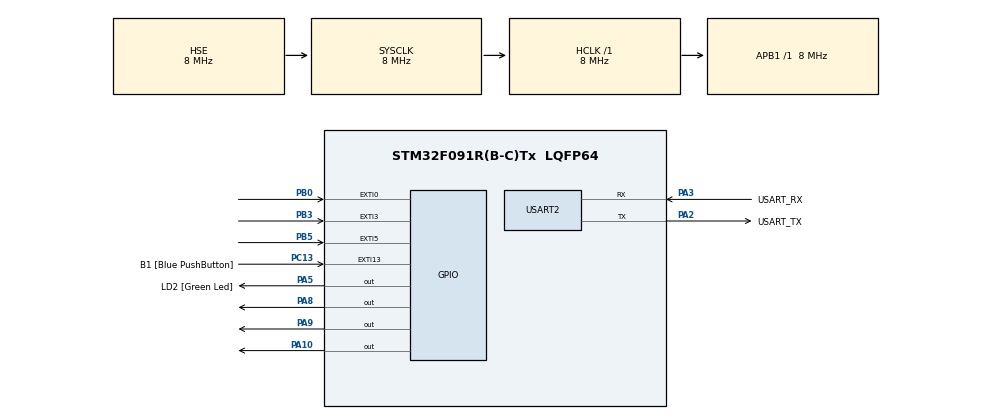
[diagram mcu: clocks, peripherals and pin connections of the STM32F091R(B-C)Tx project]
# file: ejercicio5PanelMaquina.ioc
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Mcu.Family=STM32F0
Mcu.Name=STM32F091R(B-C)Tx
Mcu.Package=LQFP64
NVIC.EXTI0_1_IRQn=true\:0\:0\:false\:false\:true\:true\:true\:true
NVIC.EXTI2_3_IRQn=true\:0\:0\:false\:false\:true\:true\:true\:true
NVIC.EXTI4_15_IRQn=true\:0\:0\:false\:false\:true\:true\:true\:true
PA10.Signal=GPIO_Output
PA13.GPIO_Label=TMS
PA13.Mode=Serial_Wire
PA13.Signal=SYS_SWDIO
PA14.GPIO_Label=TCK
PA14.Mode=Serial_Wire
PA14.Signal=SYS_SWCLK
PA2.GPIO_Label=USART_TX
PA2.GPIO_Mode=GPIO_MODE_AF_PP
PA2.GPIO_PuPd=GPIO_NOPULL
PA2.GPIO_Speed=GPIO_SPEED_FREQ_LOW
PA2.Mode=Asynchronous
PA2.Signal=USART2_TX
PA3.GPIO_Label=USART_RX
PA3.GPIO_Mode=GPIO_MODE_AF_PP
PA3.GPIO_PuPd=GPIO_NOPULL
PA3.GPIO_Speed=GPIO_SPEED_FREQ_LOW
PA3.Mode=Asynchronous
PA3.Signal=USART2_RX
PA5.GPIO_Label=LD2 [Green Led]
PA5.GPIO_Mode=GPIO_MODE_OUTPUT_PP
PA5.GPIO_PuPd=GPIO_NOPULL
PA5.GPIO_Speed=GPIO_SPEED_FREQ_LOW
PA5.Signal=GPIO_Output
PA8.Signal=GPIO_Output
PA9.Signal=GPIO_Output
PB0.Signal=GPXTI0
PB3.Signal=GPXTI3
PB5.Signal=GPXTI5
PC13.GPIO_Label=B1 [Blue PushButton]
PC13.GPIO_ModeDefaultEXTI=GPIO_MODE_IT_FALLING
PC13.Signal=GPXTI13
PC14OSC32_IN.Mode=LSE-External-Oscillator
PC14OSC32_IN.Signal=RCC_OSC32_IN
PC15OSC32_OUT.Mode=LSE-External-Oscillator
PC15OSC32_OUT.Signal=RCC_OSC32_OUT
PF0-OSC_IN.Mode=HSE-External-Clock-Source
PF0-OSC_IN.Signal=RCC_OSC_IN
PF1-OSC_OUT.Signal=RCC_OSC_OUT
ProjectManager.HeapSize=0x200
ProjectManager.StackSize=0x400
ProjectManager.TargetToolchain=CMake
RCC.AHBFreq_Value=8000000
RCC.APB1Freq_Value=8000000
RCC.APB1TimFreq_Value=8000000
RCC.FLatency-AdvancedSettings=FLASH_LATENCY_0
RCC.HCLKFreq_Value=8000000
RCC.PLLDivider=RCC_PREDIV_DIV2
RCC.PLLMUL=RCC_PLL_MUL12
RCC.PREFETCH_ENABLE-AdvancedSettings=1
RCC.SYSCLKFreq_VALUE=8000000
RCC.SYSCLKSource=RCC_SYSCLKSOURCE_HSE
USART2.VirtualMode=VM_ASYNC
USART2.VirtualMode-Asynchronous=VM_ASYNC
board=NUCLEO-F091RC

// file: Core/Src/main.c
/* USER CODE BEGIN Header */
/**
  ******************************************************************************
  * @file           : main.c
  * @brief          : Main program body
  ******************************************************************************
  * @attention
  *
  * Copyright (c) 2026 STMicroelectronics.
  * All rights reserved.
  *
  * This software is licensed under terms that can be found in the LICENSE file
  * in the root directory of this software component.
  * If no LICENSE file comes with this software, it is provided AS-IS.
  *
  ******************************************************************************
  */
/* USER CODE END Header */
#include "main.h"
#include <stdint.h>

UART_HandleTypeDef huart2;

/* USER CODE BEGIN PV */
volatile uint8_t num = 0;
volatile uint8_t contPuls = 0;
/* USER CODE END PV */

void SystemClock_Config(void);
static void MX_GPIO_Init(void);
static void MX_USART2_UART_Init(void);
/* USER CODE BEGIN PFP */
void condiciones(uint8_t num){
  //LED verde PA10 LED amarillo PA8 LED rojo PA9
  switch (num) {
    case 1:
      GPIOA->BSRR = (1UL << 24) | (1UL << 25) | (1UL << 10);//Se enciende el led verde
      break;
    case 2:
      GPIOA->BSRR = (1UL << 8) | (1UL << 25) | (1UL << 26);//Se enciende el led amarillo
      break;
    case 3:
      GPIOA->BSRR = (1UL << 24) | (1UL << 9) | (1UL << 26);//Se enciende el led rojo
      break;
    default:
      GPIOA->BSRR = (1UL << 24) | (1UL << 25) | (1UL << 26);//Por defecto aparecen apagados
      break;
  }
}
/* USER CODE END PFP */

int main(void)
{

  /* MCU Configuration--------------------------------------------------------*/

  /* Reset of all peripherals, Initializes the Flash interface and the Systick. */
  HAL_Init();

  /* Configure the system clock */
  SystemClock_Config();

  /* Initialize all configured peripherals */
  MX_GPIO_Init();
  MX_USART2_UART_Init();
  /* USER CODE BEGIN 2 */
  condiciones(num);

  /* USER CODE END 2 */

  /* Infinite loop */
  while (1)
  {

  }
}

void SystemClock_Config(void)
{
  RCC_OscInitTypeDef RCC_OscInitStruct = {0};
  RCC_ClkInitTypeDef RCC_ClkInitStruct = {0};
  RCC_PeriphCLKInitTypeDef PeriphClkInit = {0};

  /** Initializes the RCC Oscillators according to the specified parameters
  * in the RCC_OscInitTypeDef structure.
  */
  RCC_OscInitStruct.OscillatorType = RCC_OSCILLATORTYPE_HSE;
  RCC_OscInitStruct.HSEState = RCC_HSE_BYPASS;
  RCC_OscInitStruct.PLL.PLLState = RCC_PLL_NONE;
  if (HAL_RCC_OscConfig(&RCC_OscInitStruct) != HAL_OK)
  {
    Error_Handler();
  }

  /** Initializes the CPU, AHB and APB buses clocks
  */
  RCC_ClkInitStruct.ClockType = RCC_CLOCKTYPE_HCLK|RCC_CLOCKTYPE_SYSCLK
                              |RCC_CLOCKTYPE_PCLK1;
  RCC_ClkInitStruct.SYSCLKSource = RCC_SYSCLKSOURCE_HSE;
  RCC_ClkInitStruct.AHBCLKDivider = RCC_SYSCLK_DIV1;
  RCC_ClkInitStruct.APB1CLKDivider = RCC_HCLK_DIV1;

  if (HAL_RCC_ClockConfig(&RCC_ClkInitStruct, FLASH_LATENCY_0) != HAL_OK)
  {
    Error_Handler();
  }
  PeriphClkInit.PeriphClockSelection = RCC_PERIPHCLK_USART2;
  PeriphClkInit.Usart2ClockSelection = RCC_USART2CLKSOURCE_PCLK1;
  if (HAL_RCCEx_PeriphCLKConfig(&PeriphClkInit) != HAL_OK)
  {
    Error_Handler();
  }
}

static void MX_USART2_UART_Init(void)
{

  huart2.Instance = USART2;
  huart2.Init.BaudRate = 115200;
  huart2.Init.WordLength = UART_WORDLENGTH_8B;
  huart2.Init.StopBits = UART_STOPBITS_1;
  huart2.Init.Parity = UART_PARITY_NONE;
  huart2.Init.Mode = UART_MODE_TX_RX;
  huart2.Init.HwFlowCtl = UART_HWCONTROL_NONE;
  huart2.Init.OverSampling = UART_OVERSAMPLING_16;
  huart2.Init.OneBitSampling = UART_ONE_BIT_SAMPLE_DISABLE;
  huart2.AdvancedInit.AdvFeatureInit = UART_ADVFEATURE_NO_INIT;
  if (HAL_UART_Init(&huart2) != HAL_OK)
  {
    Error_Handler();
  }

}

static void MX_GPIO_Init(void)
{
  GPIO_InitTypeDef GPIO_InitStruct = {0};

  /* GPIO Ports Clock Enable */
  __HAL_RCC_GPIOC_CLK_ENABLE();
  __HAL_RCC_GPIOF_CLK_ENABLE();
  __HAL_RCC_GPIOA_CLK_ENABLE();
  __HAL_RCC_GPIOB_CLK_ENABLE();

  /*Configure GPIO pin Output Level */
  HAL_GPIO_WritePin(GPIOA, LD2_Pin|GPIO_PIN_8|GPIO_PIN_9|GPIO_PIN_10, GPIO_PIN_RESET);

  /*Configure GPIO pin : B1_Pin */
  GPIO_InitStruct.Pin = B1_Pin;
  GPIO_InitStruct.Mode = GPIO_MODE_IT_FALLING;
  GPIO_InitStruct.Pull = GPIO_NOPULL;
  HAL_GPIO_Init(B1_GPIO_Port, &GPIO_InitStruct);

  /*Configure GPIO pins : LD2_Pin PA8 PA9 PA10 */
  GPIO_InitStruct.Pin = LD2_Pin|GPIO_PIN_8|GPIO_PIN_9|GPIO_PIN_10;
  GPIO_InitStruct.Mode = GPIO_MODE_OUTPUT_PP;
  GPIO_InitStruct.Pull = GPIO_NOPULL;
  GPIO_InitStruct.Speed = GPIO_SPEED_FREQ_LOW;
  HAL_GPIO_Init(GPIOA, &GPIO_InitStruct);

  /*Configure GPIO pins : PB0 PB3 PB5 */
  GPIO_InitStruct.Pin = GPIO_PIN_0|GPIO_PIN_3|GPIO_PIN_5;
  GPIO_InitStruct.Mode = GPIO_MODE_IT_RISING;
  GPIO_InitStruct.Pull = GPIO_NOPULL;
  HAL_GPIO_Init(GPIOB, &GPIO_InitStruct);

  /* EXTI interrupt init*/
  HAL_NVIC_SetPriority(EXTI0_1_IRQn, 0, 0);
  HAL_NVIC_EnableIRQ(EXTI0_1_IRQn);

  HAL_NVIC_SetPriority(EXTI2_3_IRQn, 0, 0);
  HAL_NVIC_EnableIRQ(EXTI2_3_IRQn);

  HAL_NVIC_SetPriority(EXTI4_15_IRQn, 0, 0);
  HAL_NVIC_EnableIRQ(EXTI4_15_IRQn);

}

void Error_Handler(void)
{
  __disable_irq();
  while (1)
  {
  }
}
